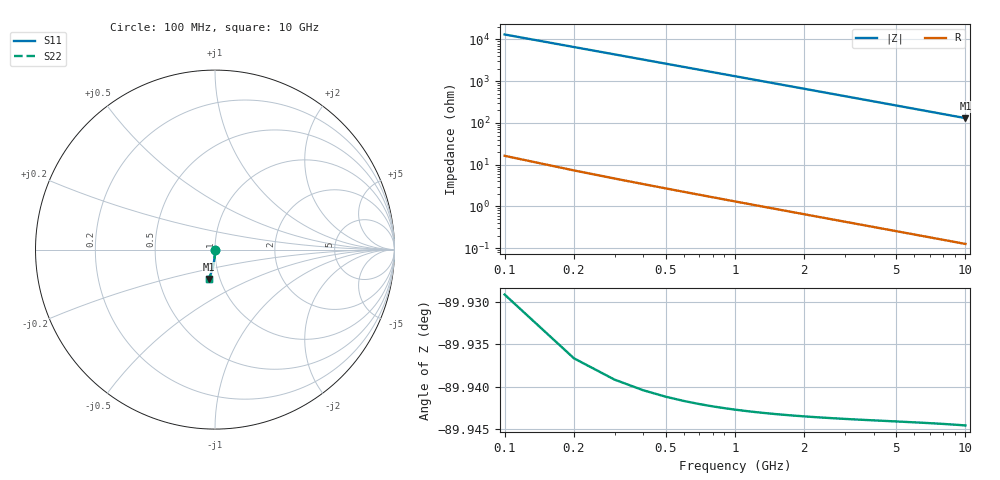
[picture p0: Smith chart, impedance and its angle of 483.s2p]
# Hz S RI R 50.00
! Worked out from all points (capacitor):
!   100 points, 100 MHz to 10 GHz, reference 50 ohm
!   read as one part in shunt: C = 121 fF near 100 MHz
!   lowest |Z| = 131 ohm at 10 GHz (marker M1)
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1e8  6.2e-05 -0.00169  0.9999 -0.00211  0.9999 -0.00211  6.2e-05 -0.00169
2e8  4.99e-05 -0.00337  0.9999 -0.00421  0.9999 -0.00421  4.99e-05 -0.00337
3e8  3.07e-05 -0.00506  0.9999 -0.00632  0.9999 -0.00632  3.07e-05 -0.00506
4e8  4.27e-06 -0.00674  0.9999 -0.00842  0.9999 -0.00842  4.27e-06 -0.00674
5e8  -2.93e-05 -0.00843  0.9998 -0.0105  0.9998 -0.0105  -2.93e-05 -0.00843
6e8  -7e-05 -0.0101  0.9998 -0.0126  0.9998 -0.0126  -7e-05 -0.0101
7e8  -0.000118 -0.0118  0.9997 -0.0147  0.9997 -0.0147  -0.000118 -0.0118
8e8  -0.000173 -0.0135  0.9997 -0.0168  0.9997 -0.0168  -0.000173 -0.0135
9e8  -0.000235 -0.0152  0.9996 -0.019  0.9996 -0.019  -0.000235 -0.0152
1.1e9  -0.00038 -0.0185  0.9995 -0.0232  0.9995 -0.0232  -0.00038 -0.0185
1.4e9  -0.000652 -0.0236  0.9992 -0.0295  0.9992 -0.0295  -0.000652 -0.0236
1.8e9  -0.00111 -0.0303  0.9987 -0.0379  0.9987 -0.0379  -0.00111 -0.0303
2.1e9  -0.00154 -0.0354  0.9983 -0.0442  0.9983 -0.0442  -0.00154 -0.0354
2.5e9  -0.0022 -0.0421  0.9976 -0.0526  0.9976 -0.0526  -0.0022 -0.0421
2.9e9  -0.00297 -0.0488  0.9968 -0.0611  0.9968 -0.0611  -0.00297 -0.0488
3.4e9  -0.0041 -0.0572  0.9956 -0.0716  0.9956 -0.0716  -0.0041 -0.0572
4.2e9  -0.00628 -0.0706  0.9934 -0.0883  0.9934 -0.0883  -0.00628 -0.0706
5.1e9  -0.00927 -0.0855  0.9903 -0.1071  0.9903 -0.1071  -0.00927 -0.0855
5.9e9  -0.0124 -0.0987  0.9871 -0.1237  0.9871 -0.1237  -0.0124 -0.0987
6.7e9  -0.016 -0.1118  0.9835 -0.1402  0.9835 -0.1402  -0.016 -0.1118
8.4e9  -0.025 -0.1391  0.9742 -0.1747  0.9742 -0.1747  -0.025 -0.1391
1e10  -0.0353 -0.164  0.9637 -0.2066  0.9637 -0.2066  -0.0353 -0.164
